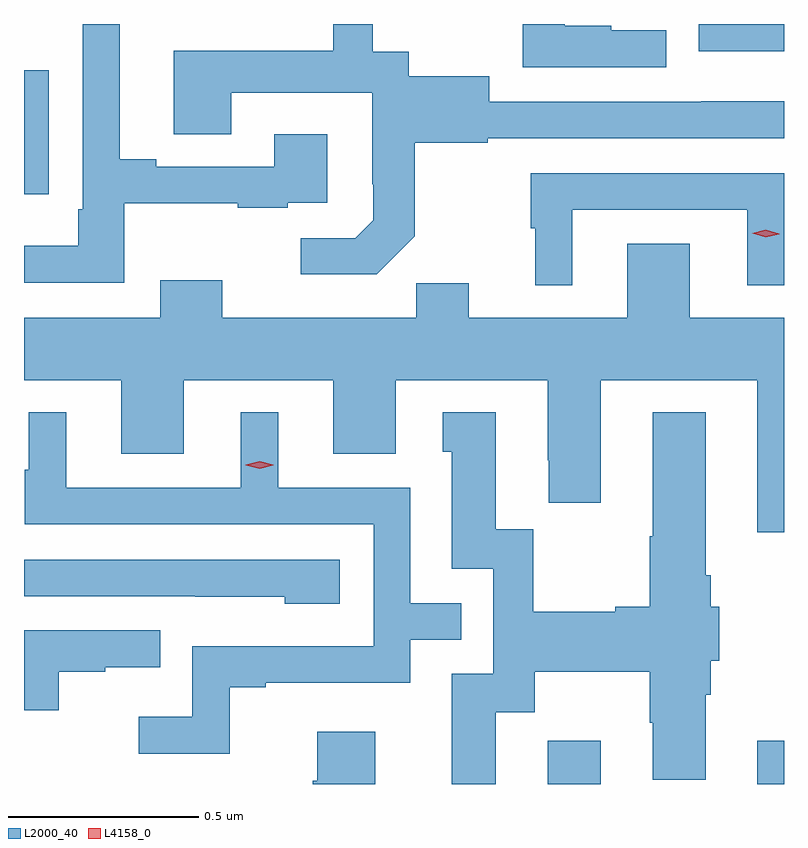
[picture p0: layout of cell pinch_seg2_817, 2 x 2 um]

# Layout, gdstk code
import gdstk
lib = gdstk.Library(unit=1e-6, precision=1e-09)
def R(c, l, rs):  # rectangles x0, y0, x1, y1
    for r in rs: c.add(gdstk.rectangle(r[:2], r[2:], *l))
def P(c, l, *ps):  # polygons
    for p in ps: c.add(gdstk.Polygon(p, *l))
L2000_40 = (2000, 40)
L4158_0 = (4158, 0)

pinch_seg2_817 = lib.new_cell('pinch_seg2_817')
R(pinch_seg2_817, L2000_40, [(661.613,611.941,661.753,612.055), (662.165,611.941,662.235,612.055), (660.235,613.493,660.3,613.819), (662.01,613.869,662.235,613.941)])
P(pinch_seg2_817, L2000_40, [(661.263,613.383),(661.263,613.629),(661.455,613.629),(661.455,613.641),(662.235,613.641),(662.235,613.738),(662.017,613.738),(662.017,613.737),(661.459,613.737),(661.459,613.804),(661.248,613.804),(661.248,613.868),(661.153,613.868),(661.153,613.941),(661.049,613.941),(661.049,613.87),(660.629,613.87),(660.629,613.651),(660.781,613.651),(660.781,613.76),(661.152,613.76),(661.152,613.519),(661.154,613.519),(661.154,613.424),(661.107,613.377),(660.963,613.377),(660.963,613.283),(661.163,613.283)],
  [(661.925,613.924),(661.781,613.924),(661.781,613.936),(661.658,613.936),(661.658,613.941),(661.288,613.941),(661.289,613.94),(661.548,613.94),(661.548,613.827),(661.925,613.827)],
  [(660.499,613.469),(660.797,613.469),(660.797,613.458),(660.929,613.458),(660.929,613.47),(661.033,613.47),(661.033,613.651),(660.893,613.651),(660.893,613.566),(660.583,613.566),(660.583,613.585),(660.487,613.585),(660.487,613.941),(660.39,613.941),(660.39,613.453),(660.378,613.453),(660.378,613.357),(660.235,613.357),(660.235,613.26),(660.499,613.26)],
  [(661.678,613.452),(662.138,613.452),(662.138,613.253),(662.235,613.253),(662.235,613.548),(661.569,613.548),(661.569,613.404),(661.58,613.404),(661.58,613.253),(661.678,613.253)],
  [(661.823,613.363),(661.823,613.168),(661.405,613.168),(661.405,613.259),(661.267,613.259),(661.267,613.168),(660.757,613.168),(660.757,613.267),(660.593,613.267),(660.593,613.168),(660.235,613.168),(660.235,613.004),(660.491,613.004),(660.491,612.81),(660.655,612.81),(660.655,613.004),(661.049,613.004),(661.049,612.81),(661.213,612.81),(661.213,613.004),(661.613,613.004),(661.613,612.793),(661.616,612.793),(661.616,612.681),(661.753,612.681),(661.753,613.004),(662.165,613.004),(662.165,612.603),(662.235,612.603),(662.235,613.168),(661.987,613.168),(661.987,613.363)],
  [(661.477,612.13),(661.579,612.13),(661.579,612.236),(661.882,612.236),(661.882,612.102),(661.889,612.102),(661.889,611.952),(662.029,611.952),(662.029,612.176),(662.042,612.176),(662.042,612.265),(662.065,612.265),(662.065,612.407),(662.042,612.407),(662.042,612.49),(662.029,612.49),(662.029,612.919),(661.889,612.919),(661.889,612.593),(661.882,612.593),(661.882,612.407),(661.791,612.407),(661.791,612.394),(661.575,612.394),(661.575,612.611),(661.477,612.611),(661.477,612.919),(661.337,612.919),(661.337,612.816),(661.361,612.816),(661.361,612.507),(661.47,612.507),(661.47,612.231),(661.361,612.231),(661.361,611.941),(661.477,611.941)],
  [(660.777,612.195),(660.871,612.195),(660.871,612.207),(661.251,612.207),(661.251,612.321),(661.385,612.321),(661.385,612.417),(661.251,612.417),(661.251,612.72),(660.904,612.72),(660.904,612.919),(660.806,612.919),(660.806,612.72),(660.346,612.72),(660.346,612.919),(660.248,612.919),(660.248,612.768),(660.237,612.768),(660.237,612.624),(661.155,612.624),(661.155,612.303),(660.678,612.303),(660.678,612.118),(660.537,612.118),(660.537,612.02),(660.777,612.02)],
  [(661.066,612.531),(660.235,612.531),(660.235,612.435),(660.685,612.435),(660.685,612.434),(660.921,612.434),(660.921,612.416),(661.066,612.416)],
  [(660.326,612.237),(660.449,612.237),(660.449,612.248),(660.593,612.248),(660.593,612.345),(660.235,612.345),(660.235,612.135),(660.326,612.135)],
  [(661.159,612.079),(661.007,612.079),(661.007,611.949),(660.995,611.949),(660.995,611.941),(661.159,611.941)])
P(pinch_seg2_817, L4158_0, [(660.855,612.77),(660.819,612.78),(660.819,612.78),(660.819,612.781),(660.855,612.79),(660.891,612.781),(660.891,612.78),(660.891,612.78)],
  [(662.187,613.38),(662.151,613.39),(662.151,613.391),(662.151,613.391),(662.187,613.4),(662.223,613.389),(662.223,613.388),(662.223,613.388)])

lib.write_gds('pinch_seg2_817.gds')
